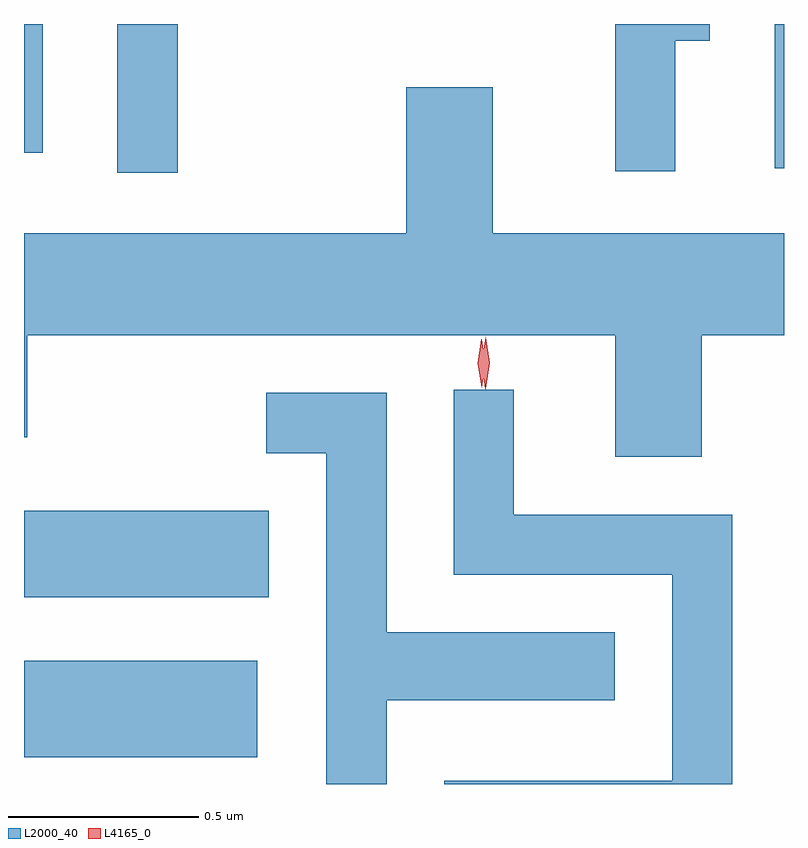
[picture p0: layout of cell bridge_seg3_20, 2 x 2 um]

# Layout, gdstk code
import gdstk
lib = gdstk.Library(unit=1e-6, precision=1e-09)
def R(c, l, rs):  # rectangles x0, y0, x1, y1
    for r in rs: c.add(gdstk.rectangle(r[:2], r[2:], *l))
def P(c, l, *ps):  # polygons
    for p in ps: c.add(gdstk.Polygon(p, *l))
L2000_40 = (2000, 40)
L4165_0 = (4165, 0)

bridge_seg3_20 = lib.new_cell('bridge_seg3_20')
R(bridge_seg3_20, L2000_40, [(1424.605,1209.266,1425.219,1209.519), (1424.605,1209.686,1425.249,1209.914), (1424.851,1210.803,1425.009,1211.195), (1426.581,1210.816,1426.605,1211.195), (1424.605,1210.856,1424.654,1211.195)])
P(bridge_seg3_20, L2000_40, [(1426.319,1211.151),(1426.409,1211.151),(1426.409,1211.195),(1426.161,1211.195),(1426.161,1210.808),(1426.319,1210.808)],
  [(1425.611,1211.029),(1425.611,1210.644),(1424.605,1210.644),(1424.605,1210.108),(1424.614,1210.108),(1424.614,1210.376),(1426.161,1210.376),(1426.161,1210.056),(1426.389,1210.056),(1426.389,1210.376),(1426.605,1210.376),(1426.605,1210.644),(1425.839,1210.644),(1425.839,1211.029)],
  [(1426.469,1209.904),(1425.894,1209.904),(1425.894,1210.233),(1425.736,1210.233),(1425.736,1209.746),(1426.311,1209.746),(1426.311,1209.204),(1425.711,1209.204),(1425.711,1209.195),(1426.469,1209.195)],
  [(1425.559,1209.416),(1426.159,1209.416),(1426.159,1209.594),(1425.559,1209.594),(1425.559,1210.224),(1425.243,1210.224),(1425.243,1210.066),(1425.401,1210.066),(1425.401,1209.195),(1425.559,1209.195)])
P(bridge_seg3_20, L4165_0, [(1425.82,1210.234),(1425.819,1210.235),(1425.81,1210.303),(1425.82,1210.371),(1425.82,1210.372),(1425.82,1210.371),(1425.83,1210.303),(1425.82,1210.235)],
  [(1425.809,1210.238),(1425.799,1210.302),(1425.808,1210.365),(1425.809,1210.366),(1425.81,1210.365),(1425.819,1210.302),(1425.81,1210.238),(1425.81,1210.238)])

lib.write_gds('bridge_seg3_20.gds')
